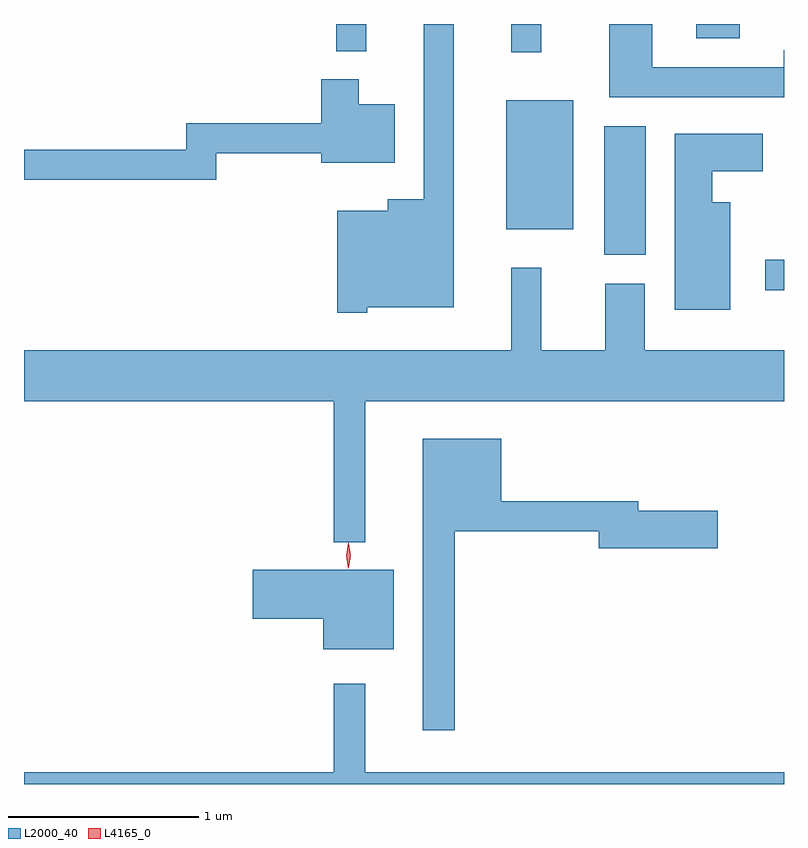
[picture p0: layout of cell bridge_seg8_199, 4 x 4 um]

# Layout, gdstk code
import gdstk
lib = gdstk.Library(unit=1e-6, precision=1e-09)
def R(c, l, rs):  # rectangles x0, y0, x1, y1
    for r in rs: c.add(gdstk.rectangle(r[:2], r[2:], *l))
def P(c, l, *ps):  # polygons
    for p in ps: c.add(gdstk.Polygon(p, *l))
L2000_40 = (2000, 40)
L4165_0 = (4165, 0)

bridge_seg8_199 = lib.new_cell('bridge_seg8_199')
R(bridge_seg8_199, L2000_40, [(1165.563,1905.821,1165.662,1905.979), (1164.716,1906.006,1164.934,1906.684), (1164.201,1906.141,1164.554,1906.819), (1164.226,1907.073,1164.384,1907.221), (1163.306,1907.078,1163.464,1907.221), (1165.201,1907.146,1165.429,1907.221)])
P(bridge_seg8_199, L2000_40, [(1165.662,1907.084),(1165.661,1907.084),(1165.661,1906.994),(1164.969,1906.994),(1164.969,1907.221),(1164.741,1907.221),(1164.741,1906.836),(1165.662,1906.836)],
  [(1163.469,1905.731),(1163.924,1905.731),(1163.924,1907.221),(1163.766,1907.221),(1163.766,1906.299),(1163.576,1906.299),(1163.576,1906.239),(1163.311,1906.239),(1163.311,1905.701),(1163.469,1905.701)],
  [(1162.674,1906.541),(1163.226,1906.541),(1163.226,1906.491),(1163.614,1906.491),(1163.614,1906.799),(1163.424,1906.799),(1163.424,1906.929),(1163.226,1906.929),(1163.226,1906.699),(1162.516,1906.699),(1162.516,1906.559),(1161.662,1906.559),(1161.662,1906.401),(1162.674,1906.401)],
  [(1165.379,1906.284),(1165.284,1906.284),(1165.284,1906.446),(1165.549,1906.446),(1165.549,1906.644),(1165.086,1906.644),(1165.086,1905.716),(1165.379,1905.716)],
  [(1163.459,1905.236),(1165.662,1905.236),(1165.662,1905.504),(1164.929,1905.504),(1164.929,1905.854),(1164.721,1905.854),(1164.721,1905.504),(1164.384,1905.504),(1164.384,1905.938),(1164.226,1905.938),(1164.226,1905.504),(1161.662,1905.504),(1161.662,1905.236),(1163.291,1905.236),(1163.291,1904.493),(1163.459,1904.493)],
  [(1163.929,1904.551),(1164.686,1904.551),(1164.686,1904.461),(1165.314,1904.461),(1165.314,1904.659),(1164.894,1904.659),(1164.894,1904.709),(1164.174,1904.709),(1164.174,1905.039),(1163.761,1905.039),(1163.761,1903.503),(1163.929,1903.503)],
  [(1163.609,1904.349),(1162.866,1904.349),(1162.866,1904.091),(1163.236,1904.091),(1163.236,1903.931),(1163.609,1903.931)],
  [(1165.662,1903.284),(1163.459,1903.284),(1163.459,1903.748),(1163.291,1903.748),(1163.291,1903.284),(1161.662,1903.284),(1161.662,1903.221),(1165.662,1903.221)])
P(bridge_seg8_199, L4165_0, [(1163.371,1904.36),(1163.362,1904.424),(1163.371,1904.486),(1163.372,1904.487),(1163.372,1904.486),(1163.382,1904.424),(1163.372,1904.36),(1163.372,1904.36)],
  [(1163.368,1904.354),(1163.359,1904.422),(1163.368,1904.49),(1163.369,1904.49),(1163.369,1904.49),(1163.379,1904.422),(1163.369,1904.354),(1163.369,1904.354)])

lib.write_gds('bridge_seg8_199.gds')
